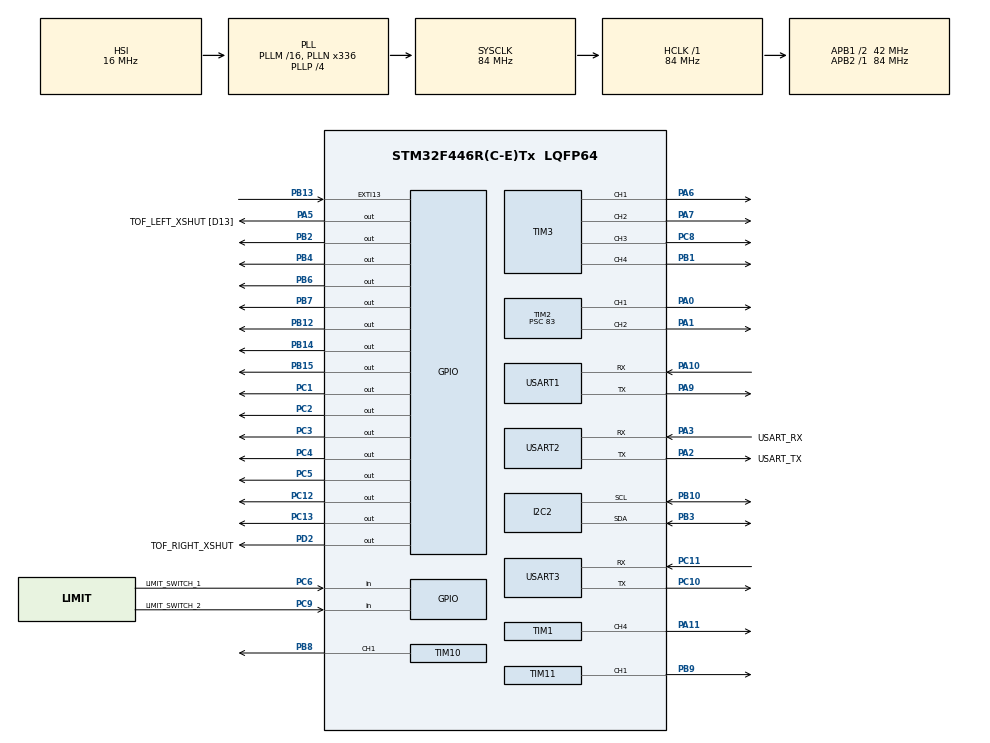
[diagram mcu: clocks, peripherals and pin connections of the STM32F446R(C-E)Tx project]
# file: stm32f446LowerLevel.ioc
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Mcu.Family=STM32F4
Mcu.Name=STM32F446R(C-E)Tx
Mcu.Package=LQFP64
NVIC.PriorityGroup=NVIC_PRIORITYGROUP_0
PA0-WKUP.Signal=S_TIM2_CH1
PA1.Signal=S_TIM2_CH2
PA10.Mode=Asynchronous
PA10.Signal=USART1_RX
PA11.Signal=S_TIM1_CH4
PA13.GPIO_Label=TMS
PA13.Mode=Serial_Wire
PA13.Signal=SYS_JTMS-SWDIO
PA14.GPIO_Label=TCK
PA14.Mode=Serial_Wire
PA14.Signal=SYS_JTCK-SWCLK
PA2.GPIO_Label=USART_TX
PA2.Mode=Asynchronous
PA2.Signal=USART2_TX
PA3.GPIO_Label=USART_RX
PA3.Mode=Asynchronous
PA3.Signal=USART2_RX
PA5.GPIO_Label=TOF_LEFT_XSHUT [D13]
PA5.GPIO_ModeDefaultOutputPP=GPIO_MODE_OUTPUT_PP
PA5.PinState=GPIO_PIN_RESET
PA5.Signal=GPIO_Output
PA6.Signal=S_TIM3_CH1
PA7.Signal=S_TIM3_CH2
PA9.Mode=Asynchronous
PA9.Signal=USART1_TX
PB1.Signal=S_TIM3_CH4
PB10.Mode=I2C
PB10.Signal=I2C2_SCL
PB12.Signal=GPIO_Output
PB13.Signal=GPXTI13
PB14.Signal=GPIO_Output
PB15.Signal=GPIO_Output
PB2.Signal=GPIO_Output
PB3.Mode=I2C
PB3.Signal=I2C2_SDA
PB4.Signal=GPIO_Output
PB6.Signal=GPIO_Output
PB7.Signal=GPIO_Output
PB8.Signal=S_TIM10_CH1
PB9.Signal=S_TIM11_CH1
PD2.GPIO_Label=TOF_RIGHT_XSHUT
PD2.GPIO_ModeDefaultOutputPP=GPIO_MODE_OUTPUT_PP
PD2.PinState=GPIO_PIN_RESET
PD2.Signal=GPIO_Output
PC1.Signal=GPIO_Output
PC10.Mode=Asynchronous
PC10.Signal=USART3_TX
PC11.Mode=Asynchronous
PC11.Signal=USART3_RX
PC12.Signal=GPIO_Output
PC13.Signal=GPIO_Output
PC14-OSC32_IN.Mode=LSE-External-Oscillator
PC14-OSC32_IN.Signal=RCC_OSC32_IN
PC15-OSC32_OUT.Mode=LSE-External-Oscillator
PC15-OSC32_OUT.Signal=RCC_OSC32_OUT
PC2.Signal=GPIO_Output
PC3.Signal=GPIO_Output
PC4.Signal=GPIO_Output
PC5.Signal=GPIO_Output
PC6.GPIO_Label=LIMIT_SWITCH_1
PC6.GPIO_PuPd=GPIO_PULLUP
PC6.Signal=GPIO_Input
PC8.Signal=S_TIM3_CH3
PC9.GPIO_Label=LIMIT_SWITCH_2
PC9.GPIO_PuPd=GPIO_PULLUP
PC9.Signal=GPIO_Input
PH0-OSC_IN.Mode=HSE-External-Oscillator
PH0-OSC_IN.Signal=RCC_OSC_IN
PH1-OSC_OUT.Mode=HSE-External-Oscillator
PH1-OSC_OUT.Signal=RCC_OSC_OUT
ProjectManager.HeapSize=0x200
ProjectManager.StackSize=0x400
ProjectManager.TargetToolchain=CMake
RCC.48MHZClocksFreq_Value=84000000
RCC.AHBFreq_Value=84000000
RCC.APB1CLKDivider=RCC_HCLK_DIV2
RCC.APB1Freq_Value=42000000
RCC.APB1TimFreq_Value=84000000
RCC.APB2Freq_Value=84000000
RCC.APB2TimFreq_Value=84000000
RCC.CortexFreq_Value=84000000
RCC.FLatency-AdvancedSettings=FLASH_LATENCY_2
RCC.HCLKFreq_Value=84000000
RCC.HSE_VALUE=8000000
RCC.HSI_VALUE=16000000
RCC.PLLN=336
RCC.PLLP=RCC_PLLP_DIV4
RCC.SYSCLKFreq_VALUE=84000000
RCC.SYSCLKSource=RCC_SYSCLKSOURCE_PLLCLK
RCC.USBFreq_Value=168000000
RCC.VCOOutputFreq_Value=336000000
SH.S_TIM10_CH1.0=TIM10_CH1,PWM Generation1 CH1
SH.S_TIM11_CH1.0=TIM11_CH1,PWM Generation1 CH1
SH.S_TIM1_CH4.0=TIM1_CH4,PWM Generation4 CH4
SH.S_TIM2_CH1.0=TIM2_CH1,PWM Generation1 CH1
SH.S_TIM2_CH2.0=TIM2_CH2,PWM Generation2 CH2
SH.S_TIM3_CH1.0=TIM3_CH1,PWM Generation1 CH1
SH.S_TIM3_CH2.0=TIM3_CH2,PWM Generation2 CH2
SH.S_TIM3_CH3.0=TIM3_CH3,PWM Generation3 CH3
SH.S_TIM3_CH4.0=TIM3_CH4,PWM Generation4 CH4
TIM1.Channel-PWM\ Generation4\ CH4=TIM_CHANNEL_4
TIM2.Channel-PWM\ Generation1\ CH1=TIM_CHANNEL_1
TIM2.Channel-PWM\ Generation2\ CH2=TIM_CHANNEL_2
TIM2.Period=999
TIM2.Prescaler=83
TIM10.Channel=TIM_CHANNEL_1
TIM11.Channel=TIM_CHANNEL_1
TIM3.Channel-PWM\ Generation1\ CH1=TIM_CHANNEL_1
TIM3.Channel-PWM\ Generation2\ CH2=TIM_CHANNEL_2
TIM3.Channel-PWM\ Generation3\ CH3=TIM_CHANNEL_3
TIM3.Channel-PWM\ Generation4\ CH4=TIM_CHANNEL_4
USART1.VirtualMode=VM_ASYNC
USART2.VirtualMode=VM_ASYNC
USART3.VirtualMode=VM_ASYNC
VP_TIM10_VS_ClockSourceINT.Mode=Enable_Timer
VP_TIM11_VS_ClockSourceINT.Mode=Enable_Timer
board=NUCLEO-F446RE

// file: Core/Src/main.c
/* USER CODE BEGIN Header */
/**
  ******************************************************************************
  * @file           : main.c
  * @brief          : Main program body
  ******************************************************************************
  * @attention
  *
  * Copyright (c) 2026 STMicroelectronics.
  * All rights reserved.
  *
  * This software is licensed under terms that can be found in the LICENSE file
  * in the root directory of this software component.
  * If no LICENSE file comes with this software, it is provided AS-IS.
  *
  ******************************************************************************
  */
/* USER CODE END Header */
#include "main.h"

/* USER CODE BEGIN Includes */
#include <stdbool.h>
#include <stdint.h>
#include "motors.h"
#include "bld515c.h"
#include "bno055.h"
#include "hx711_parallel.h"
#include "lac_actuators.h"
#include "cli_app.h"
#include "debug.h"
#include "direct_tof_app.h"
#include "drive_app.h"
#include "sensor_node_app.h"
#include "vl53l0x_pair.h"
/* USER CODE END Includes */

I2C_HandleTypeDef hi2c2;

TIM_HandleTypeDef htim1;
TIM_HandleTypeDef htim2;
TIM_HandleTypeDef htim3;
TIM_HandleTypeDef htim10;
TIM_HandleTypeDef htim11;

UART_HandleTypeDef huart1;
UART_HandleTypeDef huart2;
UART_HandleTypeDef huart3;

/* USER CODE BEGIN PV */
/* Sensor-node ingest   -> Core/Src/sensor_node_app.c
 * ROS /cmd_vel drive   -> Core/Src/drive_app.c
 * Manual CLI terminal  -> Core/Src/cli_app.c (owns the USART2 RX ISR state,
 *                         the lift timeout, and the LC / SW streaming prints) */

/* BNO055 IMU state. Polled from the main loop when the poll period has
 * elapsed. imu_ok is set by bno055_init(); if false, the poll is skipped
 * so a missing IMU doesn't generate hundreds of failed I2C transactions
 * per second. Print is rate-limited separately so logs don't flood. */
#define IMU_POLL_PERIOD_MS  10u    /* 10 ms = 100 Hz target               */
#define IMU_PRINT_PERIOD_MS 500u   /* print one summary line every 500 ms */
static bno055_euler_t imu_euler         = {0};
static bno055_calib_t imu_calib         = {0};
static bool           imu_ok            = false;
static uint32_t       imu_read_count    = 0;
static uint32_t       imu_err_count     = 0;
static uint32_t       imu_last_poll_ms  = 0;
static uint32_t       imu_last_print_ms = 0;

/* USER CODE END PV */

void SystemClock_Config(void);
static void MX_GPIO_Init(void);
static void MX_USART2_UART_Init(void);
static void MX_USART1_UART_Init(void);
static void MX_TIM2_Init(void);
static void MX_TIM3_Init(void);
static void MX_TIM1_Init(void);
static void MX_TIM10_Init(void);
static void MX_TIM11_Init(void);
void MX_I2C2_Init(void);  /* non-static: used by direct_tof_app.c for bus recovery */
static void MX_USART3_UART_Init(void);

/* USER CODE BEGIN 0 */

/* Direct VL53L0X ToF application code lives in Core/Src/direct_tof_app.c. */

/* ESP32 RS485 sensor-node ingest lives in Core/Src/sensor_node_app.c. */

/* ROS /cmd_vel drive interface lives in Core/Src/drive_app.c. */

/* Manual CLI terminal lives in Core/Src/cli_app.c. */

/* ===========================================================================
 *                   SECTION  Boot bring-up helpers
 * ---------------------------------------------------------------------------
 * Each function here is called exactly once from main() during startup, in
 * the order they appear. Keeping them separate makes the boot sequence read
 * top-to-bottom in main() as a list of named phases.
 * ========================================================================= */

/* BLD-515C BLDC bring-up test on USART1 / RS-485. Round-trips a read of the
 * device-type register to prove the bus/baud/address are correct before any
 * spin command. If the probe gets no reply, suspect baud (driver should be
 * 9600), slave address, or A/B swap. Set BLD515C_DE_RE_PORT/PIN in bld515c.h
 * (PB6 is free) if your converter needs manual DE/RE.                        */
static void bldc_bringup_probe(void)
{
    const uint8_t bldc_addr = BLD515C_DEFAULT_ADDR;

    bld515c_init(&huart1);
    drive_stop_all();
    dbg_printf(">> boot interlock: STOP sent to both drive addresses before probe\r\n");
    dbg_printf("\r\n>> BLD-515C bring-up on USART1 @ 9600 (slave 0x%02X)...\r\n", bldc_addr);

    /* Raw probe of the read-only device-type reg (0x8000) -- dumps every byte
     * that comes back for human eyes. A correct reply contains the sequence
     * 01 03 02 01 92 <crc> <crc> (possibly preceded by an echo of our own
     * request on a half-duplex converter). */
    uint8_t raw[24];
    int n = bld515c_probe(bldc_addr, BLD515C_REG_DEVTYPE, raw, sizeof raw, 0);
    dbg_printf(">> probe read 0x8000: %d byte(s) back:", n);
    for (int i = 0; i < n; ++i) dbg_printf(" %02X", raw[i]);
    dbg_printf("\r\n");

    /* Authoritative check: read_regs() scans the capture for a CRC-valid
     * device-type response (0x0192), skipping any leading bus echo. */
    uint16_t devtype = 0;
    bool online = bld515c_read_regs(bldc_addr, BLD515C_REG_DEVTYPE, &devtype, 1);

    if (!online) {
        /* MCU self-check. The byte-by-byte loopback is reliable (unlike the
         * burst probe above). It only means something when PA9<->PA10 are
         * jumpered together with the converter UNPLUGGED; with the converter
         * wired up this is expected to FAIL and says nothing about the MCU. */
        bool loop = bld515c_selftest_loopback();
        dbg_printf(">> USART1 loopback self-test: %s  (valid only with PA9<->PA10\r\n"
                   "   jumpered & converter unplugged)\r\n",
                   loop ? "PASS -> USART1 TX+RX are healthy; you do NOT need another UART"
                        : "FAIL");

        if (n == 0) {
            dbg_printf(">> SILENT BUS: nothing came back. If NOT in loopback, check\r\n"
                       "   converter power, A/B polarity, GND, and TTL TX/RX orientation\r\n"
                       "   (PA9->conv RXD, PA10->conv TXD).\r\n");
        } else if (raw[0] != bldc_addr) {
            dbg_printf(">> Got bytes but the first isn't our address (0x%02X) -> A/B\r\n"
                       "   likely swapped, baud mismatch (driver not at 9600), or wrong\r\n"
                       "   slave addr.\r\n", bldc_addr);
        } else if (n >= 2 && (raw[1] & 0x80u)) {
            dbg_printf(">> Driver replied with a Modbus EXCEPTION (code 0x%02X) -- it's\r\n"
                       "   alive and addressed correctly; the register/function was\r\n"
                       "   rejected. Wiring & baud are GOOD.\r\n", n >= 3 ? raw[2] : 0);
        } else {
            dbg_printf(">> Got %d byte(s) but no CRC-valid frame -> partial/garbled reply.\r\n"
                       "   Suspect baud mismatch (driver not exactly 9600) or noise on A/B.\r\n", n);
        }
        dbg_printf(">> Skipping spin-up until the link is verified.\r\n");
    } else {
        dbg_printf(">> BLD-515C ONLINE. device type 0x8000 = 0x%04X\r\n", devtype);

        /* Boot-time motor movement test intentionally disabled. Keep the
         * bus probe above, but never run canned wheel commands at startup. */
        drive_stop_all();
        dbg_printf(">> boot motor movement test disabled; wheels commanded stopped.\r\n");
        dbg_printf(">> now listening for live V commands.\r\n");
    }
}

/* Direct VL53L0X pair bring-up and per-tick service live in direct_tof_app.c
 * and are called via direct_tof_bringup() / direct_tof_service(). */

/* ---- Steppers + linear actuators bring-up ---------------------------------
 * The three test-mode branches all end with safe state: DIRECT_TOF skips
 * motion entirely, Y_LIFT only arms steppers (M2/M5 lift), full-mode brings
 * up both the stepper array and the LAC PWM outputs.                         */
static void actuators_bringup(void)
{
#if DIRECT_TOF_TEST_MODE
    dbg_printf("\r\n>> DIRECT TOF TEST MODE: stepper, BLDC and LAC movement disabled\r\n");
#elif Y_LIFT_TEST_MODE
    motor_init();
    motor_stop_all();
    dbg_printf("\r\n>> Y LIFT TEST MODE: only timed M2/M5 lift commands enabled\r\n");
    dbg_printf(">> M1/M3/M4/M6/M7, BLDC and LAC movement disabled\r\n");
#else
    motor_init();
    motor_stop_all();
    if (!lac_actuators_init(&htim2)) {
        Error_Handler();
    }
#endif
}

/* ---- BNO055 IMU bring-up on I2C2 ------------------------------------------
 * Blocks ~750 ms while the chip boots; records online/offline into imu_ok
 * for the main loop status prints.                                           */
static void imu_bringup(void)
{
#if DIRECT_TOF_TEST_MODE || Y_LIFT_TEST_MODE
    dbg_printf("\r\n>> BNO055 skipped so I2C2 carries only ToF diagnostic traffic\r\n");
#else
    dbg_printf("\r\n>> Bringing up BNO055 IMU...\r\n");
    imu_ok = bno055_init();
    dbg_printf(">> BNO055 %s\r\n", imu_ok ? "READY (NDOF, polled @ ~100 Hz)"
                                          : "NOT FOUND (check PB3/PB10/PC3 wiring & pullups)");
#endif
}

/* ---- Static peripheral-topology banner ------------------------------------
 * Pure informational prints: LAC pinout + mode, ESP32 sensor-node framing on
 * USART3, and the USART2 role note. No hardware touched.                     */
static void print_actuator_banner(void)
{
#if Y_LIFT_TEST_MODE
    dbg_printf(">> LAC actuators disabled during bounded Y lift test\r\n");
#else
    dbg_printf(">> LAC actuators: LEFT=A0/PA0, RIGHT=A1/PA1, "
#if LAC_RC_TEST_MODE
               "temporary RC 50Hz (1-2ms); startup command=HOME\r\n");
#else
               "3.3V 1kHz PWM (1-99%% duty); startup command=HOME\r\n");
#endif
#endif
    dbg_printf(">> ESP32 sensor nodes on USART3/RS485 @ 115200\r\n");
    dbg_printf(">> cmd=0x01: 4x VL53L0X + 1x ultrasonic; cmd=0x02: 3x VL53L5CX grids + fans\r\n");
    dbg_printf(">> USART2 is terminal/Raspberry Pi only; sensor bytes stay on RS485 UARTs.\r\n");
}

/* cli_terminal_init() lives in Core/Src/cli_app.c (declared in cli_app.h). */

/* USER CODE END 0 */

/* ===========================================================================
 *                   SECTION  main() — init sequence + idle loop
 * ---------------------------------------------------------------------------
 * CubeMX fills in the HAL init and USER CODE markers. All application-level
 * bringup is routed through the helpers above, so the body of main() reads
 * as a flat list of named phases followed by the forever loop.
 * ========================================================================= */
int main(void)
{

  /* MCU Configuration--------------------------------------------------------*/

  /* Reset of all peripherals, Initializes the Flash interface and the Systick. */
  HAL_Init();

  /* Configure the system clock */
  SystemClock_Config();

  /* Initialize all configured peripherals */
  MX_GPIO_Init();
  MX_USART2_UART_Init();
  MX_USART1_UART_Init();
  MX_TIM2_Init();
  MX_TIM3_Init();
  MX_TIM1_Init();
  MX_TIM10_Init();
  MX_TIM11_Init();
  MX_I2C2_Init();
  MX_USART3_UART_Init();
  /* USER CODE BEGIN 2 */

  sensor_node_start_dma();
  actuators_bringup();
  hx711_parallel_init();
  switch_configure_inputs(GPIO_PULLUP);
  dbg_printf(">> HX711 load cells: SCK=PC0/A5, DOUT=[PB0 PB5 PC7 PA8], waiting for all four\r\n");
  dbg_printf(">> limit switches: PC6 and PC9 active-low inputs, pull=UP; use SW STATUS\r\n");

#if Y_LIFT_TEST_MODE
  dbg_printf("\r\n>> Direct ToF initialization skipped during bounded Y lift test\r\n");
#else
  direct_tof_bringup();
#endif
  imu_bringup();
  print_actuator_banner();

#if !DIRECT_TOF_TEST_MODE && !Y_LIFT_TEST_MODE
  bldc_bringup_probe();
#else
  dbg_printf(">> BLDC probe skipped in direct ToF test mode\r\n");
#endif

  cli_terminal_init();

  uint32_t sensor_last_print_ms    = 0u;
  uint32_t sensor_last_valid_frames = 0u;
  uint32_t sensor_last_rx_bytes     = 0u;

  /* USER CODE END 2 */

  /* Infinite loop */
  while (1)
  {

    /* USER CODE BEGIN 3 */

    sensor_node_service_usart3();
    uint32_t now_ms = HAL_GetTick();
#if !Y_LIFT_TEST_MODE
    vl53l0x_pair_service(now_ms);
#endif
    direct_tof_service(now_ms);
    if (motor_coordinated_service()) {
        dbg_printf("OK: coordinated step run complete -> selected motors stopped\r\n");
    }
    hx711_parallel_service(now_ms);
    cli_service(now_ms);
    if (cli_terminal_log_enabled()) {
        sensor_node_emit_status(HAL_GetTick(),
                                &sensor_last_print_ms,
                                &sensor_last_valid_frames,
                                &sensor_last_rx_bytes);
    }

    /* --- BNO055 poll. Target 100 Hz (10 ms period). Note: while the motor
     * test loop below is running its HAL_Delay()s, this block only fires
     * between cycles -- so during the test you'll see less than 100 Hz.
     * Once you remove the test code and re-enable the CLI, this becomes
     * the real 100 Hz polling path with no changes. */
    if (imu_ok && (HAL_GetTick() - imu_last_poll_ms) >= IMU_POLL_PERIOD_MS) {
        imu_last_poll_ms = HAL_GetTick();
        bool e_ok = bno055_read_euler(&imu_euler);
        bool c_ok = bno055_read_calib(&imu_calib);
        if (e_ok && c_ok) imu_read_count++;
        else              imu_err_count++;

        if (cli_terminal_log_enabled() &&
            (HAL_GetTick() - imu_last_print_ms) >= IMU_PRINT_PERIOD_MS) {
            imu_last_print_ms = HAL_GetTick();
            dbg_printf("IMU H=%.1f R=%.1f P=%.1f  calib S/G/A/M=%u/%u/%u/%u  reads=%lu errs=%lu\r\n",
                       (double)imu_euler.heading_deg,
                       (double)imu_euler.roll_deg,
                       (double)imu_euler.pitch_deg,
                       imu_calib.sys, imu_calib.gyro,
                       imu_calib.accel, imu_calib.mag,
                       (unsigned long)imu_read_count,
                       (unsigned long)imu_err_count);
        }
    }

    /* --- Command watchdog. If the Pi stops streaming V lines (crashed bridge,
     * unplugged cable), stop both wheels so the robot can't run away. The Pi
     * also sends "V 0 0" on its own 0.5 s timeout; this is the backstop for
     * when even that doesn't arrive. */
#if !DIRECT_TOF_TEST_MODE
    drive_timeout_service(HAL_GetTick());
#endif
  }
  /* USER CODE END 3 */
}

/* ===========================================================================
 *                   SECTION  CubeMX-generated HAL peripheral init
 * ---------------------------------------------------------------------------
 * Everything below is regenerated by STM32CubeMX from stm32f446LowerLevel.ioc.
 * Hand edits must stay inside USER CODE BEGIN/END pairs or they will be wiped.
 * ========================================================================= */
void SystemClock_Config(void)
{
  RCC_OscInitTypeDef RCC_OscInitStruct = {0};
  RCC_ClkInitTypeDef RCC_ClkInitStruct = {0};

  /** Configure the main internal regulator output voltage
  */
  __HAL_RCC_PWR_CLK_ENABLE();
  __HAL_PWR_VOLTAGESCALING_CONFIG(PWR_REGULATOR_VOLTAGE_SCALE3);

  /** Initializes the RCC Oscillators according to the specified parameters
  * in the RCC_OscInitTypeDef structure.
  */
  RCC_OscInitStruct.OscillatorType = RCC_OSCILLATORTYPE_HSI;
  RCC_OscInitStruct.HSIState = RCC_HSI_ON;
  RCC_OscInitStruct.HSICalibrationValue = RCC_HSICALIBRATION_DEFAULT;
  RCC_OscInitStruct.PLL.PLLState = RCC_PLL_ON;
  RCC_OscInitStruct.PLL.PLLSource = RCC_PLLSOURCE_HSI;
  RCC_OscInitStruct.PLL.PLLM = 16;
  RCC_OscInitStruct.PLL.PLLN = 336;
  RCC_OscInitStruct.PLL.PLLP = RCC_PLLP_DIV4;
  RCC_OscInitStruct.PLL.PLLQ = 2;
  RCC_OscInitStruct.PLL.PLLR = 2;
  if (HAL_RCC_OscConfig(&RCC_OscInitStruct) != HAL_OK)
  {
    Error_Handler();
  }

  /** Initializes the CPU, AHB and APB buses clocks
  */
  RCC_ClkInitStruct.ClockType = RCC_CLOCKTYPE_HCLK|RCC_CLOCKTYPE_SYSCLK
                              |RCC_CLOCKTYPE_PCLK1|RCC_CLOCKTYPE_PCLK2;
  RCC_ClkInitStruct.SYSCLKSource = RCC_SYSCLKSOURCE_PLLCLK;
  RCC_ClkInitStruct.AHBCLKDivider = RCC_SYSCLK_DIV1;
  RCC_ClkInitStruct.APB1CLKDivider = RCC_HCLK_DIV2;
  RCC_ClkInitStruct.APB2CLKDivider = RCC_HCLK_DIV1;

  if (HAL_RCC_ClockConfig(&RCC_ClkInitStruct, FLASH_LATENCY_2) != HAL_OK)
  {
    Error_Handler();
  }
}

void MX_I2C2_Init(void)
{

  hi2c2.Instance = I2C2;
#if DIRECT_TOF_LONG_CABLE_MODE
  /* The direct VL53L0X modules are approximately two metres from the MCU.
   * Slow the diagnostic bus to give the long cable substantially more rise
   * and settling time. */
  hi2c2.Init.ClockSpeed = 10000;
#else
  hi2c2.Init.ClockSpeed = 100000;
#endif
  hi2c2.Init.DutyCycle = I2C_DUTYCYCLE_2;
  hi2c2.Init.OwnAddress1 = 0;
  hi2c2.Init.AddressingMode = I2C_ADDRESSINGMODE_7BIT;
  hi2c2.Init.DualAddressMode = I2C_DUALADDRESS_DISABLE;
  hi2c2.Init.OwnAddress2 = 0;
  hi2c2.Init.GeneralCallMode = I2C_GENERALCALL_DISABLE;
  hi2c2.Init.NoStretchMode = I2C_NOSTRETCH_DISABLE;
  if (HAL_I2C_Init(&hi2c2) != HAL_OK)
  {
    Error_Handler();
  }

}

static void MX_TIM1_Init(void)
{

  TIM_MasterConfigTypeDef sMasterConfig = {0};
  TIM_OC_InitTypeDef sConfigOC = {0};
  TIM_BreakDeadTimeConfigTypeDef sBreakDeadTimeConfig = {0};

  htim1.Instance = TIM1;
  htim1.Init.Prescaler = 0;
  htim1.Init.CounterMode = TIM_COUNTERMODE_UP;
  htim1.Init.Period = 65535;
  htim1.Init.ClockDivision = TIM_CLOCKDIVISION_DIV1;
  htim1.Init.RepetitionCounter = 0;
  htim1.Init.AutoReloadPreload = TIM_AUTORELOAD_PRELOAD_DISABLE;
  if (HAL_TIM_PWM_Init(&htim1) != HAL_OK)
  {
    Error_Handler();
  }
  sMasterConfig.MasterOutputTrigger = TIM_TRGO_RESET;
  sMasterConfig.MasterSlaveMode = TIM_MASTERSLAVEMODE_DISABLE;
  if (HAL_TIMEx_MasterConfigSynchronization(&htim1, &sMasterConfig) != HAL_OK)
  {
    Error_Handler();
  }
  sConfigOC.OCMode = TIM_OCMODE_PWM1;
  sConfigOC.Pulse = 0;
  sConfigOC.OCPolarity = TIM_OCPOLARITY_HIGH;
  sConfigOC.OCFastMode = TIM_OCFAST_DISABLE;
  sConfigOC.OCIdleState = TIM_OCIDLESTATE_RESET;
  sConfigOC.OCNIdleState = TIM_OCNIDLESTATE_RESET;
  if (HAL_TIM_PWM_ConfigChannel(&htim1, &sConfigOC, TIM_CHANNEL_4) != HAL_OK)
  {
    Error_Handler();
  }
  sBreakDeadTimeConfig.OffStateRunMode = TIM_OSSR_DISABLE;
  sBreakDeadTimeConfig.OffStateIDLEMode = TIM_OSSI_DISABLE;
  sBreakDeadTimeConfig.LockLevel = TIM_LOCKLEVEL_OFF;
  sBreakDeadTimeConfig.DeadTime = 0;
  sBreakDeadTimeConfig.BreakState = TIM_BREAK_DISABLE;
  sBreakDeadTimeConfig.BreakPolarity = TIM_BREAKPOLARITY_HIGH;
  sBreakDeadTimeConfig.AutomaticOutput = TIM_AUTOMATICOUTPUT_DISABLE;
  if (HAL_TIMEx_ConfigBreakDeadTime(&htim1, &sBreakDeadTimeConfig) != HAL_OK)
  {
    Error_Handler();
  }
  HAL_TIM_MspPostInit(&htim1);

}

static void MX_TIM2_Init(void)
{
  TIM_MasterConfigTypeDef sMasterConfig = {0};
  TIM_OC_InitTypeDef sConfigOC = {0};

  /* APB1 timer clock is 84 MHz. Divide to a 1 MHz counter. */
  htim2.Instance = TIM2;
  htim2.Init.Prescaler = 83;
  htim2.Init.CounterMode = TIM_COUNTERMODE_UP;
#if LAC_RC_TEST_MODE
  htim2.Init.Period = 19999; /* 50 Hz RC frame */
#else
  htim2.Init.Period = 999;   /* 1 kHz VC PWM */
#endif
  htim2.Init.ClockDivision = TIM_CLOCKDIVISION_DIV1;
  htim2.Init.AutoReloadPreload = TIM_AUTORELOAD_PRELOAD_DISABLE;
  if (HAL_TIM_PWM_Init(&htim2) != HAL_OK)
  {
    Error_Handler();
  }
  sMasterConfig.MasterOutputTrigger = TIM_TRGO_RESET;
  sMasterConfig.MasterSlaveMode = TIM_MASTERSLAVEMODE_DISABLE;
  if (HAL_TIMEx_MasterConfigSynchronization(&htim2, &sMasterConfig) != HAL_OK)
  {
    Error_Handler();
  }
  sConfigOC.OCMode = TIM_OCMODE_PWM1;
  sConfigOC.Pulse = 0;
  sConfigOC.OCPolarity = TIM_OCPOLARITY_HIGH;
  sConfigOC.OCFastMode = TIM_OCFAST_DISABLE;
  if (HAL_TIM_PWM_ConfigChannel(&htim2, &sConfigOC, TIM_CHANNEL_1) != HAL_OK)
  {
    Error_Handler();
  }
  if (HAL_TIM_PWM_ConfigChannel(&htim2, &sConfigOC, TIM_CHANNEL_2) != HAL_OK)
  {
    Error_Handler();
  }
  HAL_TIM_MspPostInit(&htim2);
}

static void MX_TIM3_Init(void)
{

  TIM_MasterConfigTypeDef sMasterConfig = {0};
  TIM_OC_InitTypeDef sConfigOC = {0};

  htim3.Instance = TIM3;
  htim3.Init.Prescaler = 0;
  htim3.Init.CounterMode = TIM_COUNTERMODE_UP;
  htim3.Init.Period = 65535;
  htim3.Init.ClockDivision = TIM_CLOCKDIVISION_DIV1;
  htim3.Init.AutoReloadPreload = TIM_AUTORELOAD_PRELOAD_DISABLE;
  if (HAL_TIM_PWM_Init(&htim3) != HAL_OK)
  {
    Error_Handler();
  }
  sMasterConfig.MasterOutputTrigger = TIM_TRGO_RESET;
  sMasterConfig.MasterSlaveMode = TIM_MASTERSLAVEMODE_DISABLE;
  if (HAL_TIMEx_MasterConfigSynchronization(&htim3, &sMasterConfig) != HAL_OK)
  {
    Error_Handler();
  }
  sConfigOC.OCMode = TIM_OCMODE_PWM1;
  sConfigOC.Pulse = 0;
  sConfigOC.OCPolarity = TIM_OCPOLARITY_HIGH;
  sConfigOC.OCFastMode = TIM_OCFAST_DISABLE;
  if (HAL_TIM_PWM_ConfigChannel(&htim3, &sConfigOC, TIM_CHANNEL_1) != HAL_OK)
  {
    Error_Handler();
  }
  if (HAL_TIM_PWM_ConfigChannel(&htim3, &sConfigOC, TIM_CHANNEL_2) != HAL_OK)
  {
    Error_Handler();
  }
  if (HAL_TIM_PWM_ConfigChannel(&htim3, &sConfigOC, TIM_CHANNEL_3) != HAL_OK)
  {
    Error_Handler();
  }
  if (HAL_TIM_PWM_ConfigChannel(&htim3, &sConfigOC, TIM_CHANNEL_4) != HAL_OK)
  {
    Error_Handler();
  }
  HAL_TIM_MspPostInit(&htim3);

}

static void MX_TIM10_Init(void)
{

  TIM_OC_InitTypeDef sConfigOC = {0};

  htim10.Instance = TIM10;
  htim10.Init.Prescaler = 0;
  htim10.Init.CounterMode = TIM_COUNTERMODE_UP;
  htim10.Init.Period = 65535;
  htim10.Init.ClockDivision = TIM_CLOCKDIVISION_DIV1;
  htim10.Init.AutoReloadPreload = TIM_AUTORELOAD_PRELOAD_DISABLE;
  if (HAL_TIM_Base_Init(&htim10) != HAL_OK)
  {
    Error_Handler();
  }
  if (HAL_TIM_PWM_Init(&htim10) != HAL_OK)
  {
    Error_Handler();
  }
  sConfigOC.OCMode = TIM_OCMODE_PWM1;
  sConfigOC.Pulse = 0;
  sConfigOC.OCPolarity = TIM_OCPOLARITY_HIGH;
  sConfigOC.OCFastMode = TIM_OCFAST_DISABLE;
  if (HAL_TIM_PWM_ConfigChannel(&htim10, &sConfigOC, TIM_CHANNEL_1) != HAL_OK)
  {
    Error_Handler();
  }
  HAL_TIM_MspPostInit(&htim10);

}

static void MX_TIM11_Init(void)
{

  TIM_OC_InitTypeDef sConfigOC = {0};

  htim11.Instance = TIM11;
  htim11.Init.Prescaler = 0;
  htim11.Init.CounterMode = TIM_COUNTERMODE_UP;
  htim11.Init.Period = 65535;
  htim11.Init.ClockDivision = TIM_CLOCKDIVISION_DIV1;
  htim11.Init.AutoReloadPreload = TIM_AUTORELOAD_PRELOAD_DISABLE;
  if (HAL_TIM_Base_Init(&htim11) != HAL_OK)
  {
    Error_Handler();
  }
  if (HAL_TIM_PWM_Init(&htim11) != HAL_OK)
  {
    Error_Handler();
  }
  sConfigOC.OCMode = TIM_OCMODE_PWM1;
  sConfigOC.Pulse = 0;
  sConfigOC.OCPolarity = TIM_OCPOLARITY_HIGH;
  sConfigOC.OCFastMode = TIM_OCFAST_DISABLE;
  if (HAL_TIM_PWM_ConfigChannel(&htim11, &sConfigOC, TIM_CHANNEL_1) != HAL_OK)
  {
    Error_Handler();
  }
  HAL_TIM_MspPostInit(&htim11);

}

static void MX_USART1_UART_Init(void)
{

  huart1.Instance = USART1;
  huart1.Init.BaudRate = 115200;
  huart1.Init.WordLength = UART_WORDLENGTH_8B;
  huart1.Init.StopBits = UART_STOPBITS_1;
  huart1.Init.Parity = UART_PARITY_NONE;
  huart1.Init.Mode = UART_MODE_TX_RX;
  huart1.Init.HwFlowCtl = UART_HWCONTROL_NONE;
  huart1.Init.OverSampling = UART_OVERSAMPLING_16;
  if (HAL_UART_Init(&huart1) != HAL_OK)
  {
    Error_Handler();
  }
  /* USER CODE BEGIN USART1_Init 2 */
  /* BLD-515C RS-485 link runs at 9600 baud. Override the CubeMX default
   * 115200 and re-init. Survives Generate Code because this is inside a USER
   * CODE block. Cleaner alternative: set USART1 baud to 9600 in the IOC,
   * regenerate, and delete this block. */
  huart1.Init.BaudRate = 9600;
  if (HAL_UART_Init(&huart1) != HAL_OK) {
      Error_Handler();
  }
  /* USER CODE END USART1_Init 2 */

}

static void MX_USART2_UART_Init(void)
{

  huart2.Instance = USART2;
  huart2.Init.BaudRate = 115200;
  huart2.Init.WordLength = UART_WORDLENGTH_8B;
  huart2.Init.StopBits = UART_STOPBITS_1;
  huart2.Init.Parity = UART_PARITY_NONE;
  huart2.Init.Mode = UART_MODE_TX_RX;
  huart2.Init.HwFlowCtl = UART_HWCONTROL_NONE;
  huart2.Init.OverSampling = UART_OVERSAMPLING_16;
  if (HAL_UART_Init(&huart2) != HAL_OK)
  {
    Error_Handler();
  }

}

static void MX_USART3_UART_Init(void)
{

  huart3.Instance = USART3;
  huart3.Init.BaudRate = 115200;
  huart3.Init.WordLength = UART_WORDLENGTH_8B;
  huart3.Init.StopBits = UART_STOPBITS_1;
  huart3.Init.Parity = UART_PARITY_NONE;
  huart3.Init.Mode = UART_MODE_TX_RX;
  huart3.Init.HwFlowCtl = UART_HWCONTROL_NONE;
  huart3.Init.OverSampling = UART_OVERSAMPLING_16;
  if (HAL_UART_Init(&huart3) != HAL_OK)
  {
    Error_Handler();
  }
  /* USER CODE BEGIN USART3_Init 2 */
  /* USART3 is no longer used for direct DYP-A02 polling. It remains a
   * 115200-baud RS485 fallback input for the ESP32 sensor node. */
  /* USER CODE END USART3_Init 2 */

}

static void MX_GPIO_Init(void)
{
  GPIO_InitTypeDef GPIO_InitStruct = {0};

  /* GPIO Ports Clock Enable */
  __HAL_RCC_GPIOC_CLK_ENABLE();
  __HAL_RCC_GPIOH_CLK_ENABLE();
  __HAL_RCC_GPIOA_CLK_ENABLE();
  __HAL_RCC_GPIOB_CLK_ENABLE();
  __HAL_RCC_GPIOD_CLK_ENABLE();

  /*Configure GPIO pin Output Level */
  HAL_GPIO_WritePin(GPIOC, GPIO_PIN_13|GPIO_PIN_1|GPIO_PIN_2|GPIO_PIN_3
                          |GPIO_PIN_4|GPIO_PIN_5|GPIO_PIN_12, GPIO_PIN_RESET);

  /*Configure GPIO pin Output Level */
  HAL_GPIO_WritePin(LD2_GPIO_Port, LD2_Pin, GPIO_PIN_RESET);

  /* Hold both VL53L0X sensors in shutdown until they can be addressed one at
   * a time without colliding at the shared factory address. */
  HAL_GPIO_WritePin(GPIOA, GPIO_PIN_5, GPIO_PIN_RESET);
  HAL_GPIO_WritePin(GPIOD, GPIO_PIN_2, GPIO_PIN_RESET);

  /*Configure GPIO pin Output Level */
  HAL_GPIO_WritePin(GPIOB, GPIO_PIN_2|GPIO_PIN_12|GPIO_PIN_14|GPIO_PIN_15
                          |GPIO_PIN_4|GPIO_PIN_6|GPIO_PIN_7, GPIO_PIN_RESET);

  /*Configure GPIO pins : PC13 PC1 PC2 PC3
                           PC4 PC5 PC12 */
  GPIO_InitStruct.Pin = GPIO_PIN_13|GPIO_PIN_1|GPIO_PIN_2|GPIO_PIN_3
                          |GPIO_PIN_4|GPIO_PIN_5|GPIO_PIN_12;
  GPIO_InitStruct.Mode = GPIO_MODE_OUTPUT_PP;
  GPIO_InitStruct.Pull = GPIO_NOPULL;
  GPIO_InitStruct.Speed = GPIO_SPEED_FREQ_LOW;
  HAL_GPIO_Init(GPIOC, &GPIO_InitStruct);

  /* Configure D13/PA5 as the direct ToF XSHUT output. The onboard LD2 LED is
   * also attached to PA5 and will harmlessly mirror this line. */
  GPIO_InitStruct.Pin = GPIO_PIN_5;
  GPIO_InitStruct.Mode = GPIO_MODE_OUTPUT_PP;
  GPIO_InitStruct.Pull = GPIO_NOPULL;
  GPIO_InitStruct.Speed = GPIO_SPEED_FREQ_LOW;
  HAL_GPIO_Init(GPIOA, &GPIO_InitStruct);

  /* Configure PD2 as the second direct ToF XSHUT output. */
  GPIO_InitStruct.Pin = GPIO_PIN_2;
  GPIO_InitStruct.Mode = GPIO_MODE_OUTPUT_PP;
  GPIO_InitStruct.Pull = GPIO_NOPULL;
  GPIO_InitStruct.Speed = GPIO_SPEED_FREQ_LOW;
  HAL_GPIO_Init(GPIOD, &GPIO_InitStruct);

  /*Configure GPIO pins : PB2 PB12 PB14 PB15
                           PB4 PB6 PB7 */
  GPIO_InitStruct.Pin = GPIO_PIN_2|GPIO_PIN_12|GPIO_PIN_14|GPIO_PIN_15
                          |GPIO_PIN_4|GPIO_PIN_6|GPIO_PIN_7;
  GPIO_InitStruct.Mode = GPIO_MODE_OUTPUT_PP;
  GPIO_InitStruct.Pull = GPIO_NOPULL;
  GPIO_InitStruct.Speed = GPIO_SPEED_FREQ_LOW;
  HAL_GPIO_Init(GPIOB, &GPIO_InitStruct);

  /*Configure GPIO pin : PB13 */
  GPIO_InitStruct.Pin = GPIO_PIN_13;
  GPIO_InitStruct.Mode = GPIO_MODE_IT_RISING;
  GPIO_InitStruct.Pull = GPIO_NOPULL;
  HAL_GPIO_Init(GPIOB, &GPIO_InitStruct);

}

/* USER CODE BEGIN 4 */

/* ===========================================================================
 *                   SECTION  HAL ISR callbacks + fatal handlers
 * ---------------------------------------------------------------------------
 * HAL_UART_* callbacks fire from the USARTx IRQ. They must stay short and
 * MUST NOT call dbg_printf (which blocks on TX). Error_Handler and
 * assert_failed are terminal panics — the status LED on PA5 blinks via a
 * fast toggle loop.
 * ========================================================================= */

/* USART2 uses single-byte interrupt RX for the test command interface. The
 * actual byte-accumulation lives in cli_app.c; we just route the HAL callback
 * to the right owner so the ISR path stays short. */
void HAL_UART_RxCpltCallback(UART_HandleTypeDef *huart)
{
    if (huart->Instance == USART2) {
        cli_handle_usart2_rx_cplt();
    }
}
void HAL_UART_RxHalfCpltCallback(UART_HandleTypeDef *huart) { (void)huart; }

/* On any UART error (overrun, framing, noise) HAL aborts the active transfer.
 * Each owner restarts its own transfer so we don't go deaf permanently. */
void HAL_UART_ErrorCallback(UART_HandleTypeDef *huart)
{
    if (huart->Instance == USART3) {
        sensor_node_restart_dma();
    } else if (huart->Instance == USART2) {
        cli_handle_usart2_error();
    }
}

/* USER CODE END 4 */

void Error_Handler(void)
{
  __disable_irq();
  while (1)
  {
  }
}
